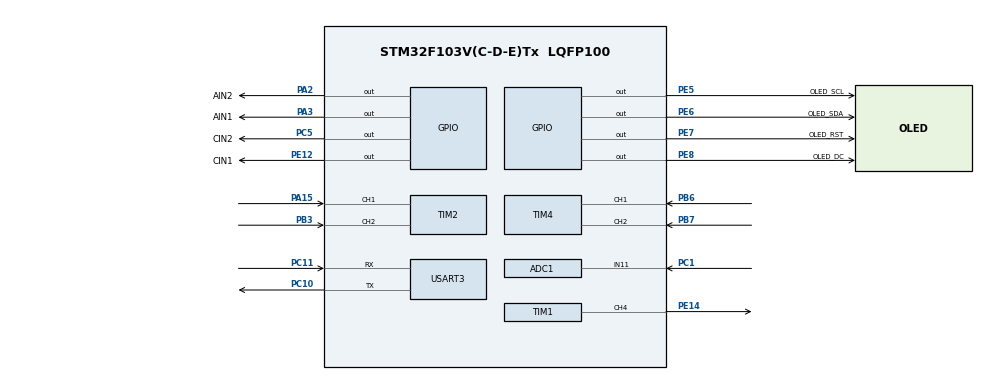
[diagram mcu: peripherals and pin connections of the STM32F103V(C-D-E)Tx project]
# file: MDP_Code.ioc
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ADC1.Channel-0\#ChannelRegularConversion=ADC_CHANNEL_11
ADC1.NbrOfConversionFlag=1
ADC1.Rank-0\#ChannelRegularConversion=1
ADC1.SamplingTime-0\#ChannelRegularConversion=ADC_SAMPLETIME_1CYCLE_5
ADC1.master=1
FREERTOS.Tasks01=defaultTask,24,128,StartDefaultTask,Default,NULL,Dynamic,NULL,NULL;UART_Task,8,128,UART_show,Default,NULL,Dynamic,NULL,NULL
Mcu.Family=STM32F1
Mcu.Name=STM32F103V(C-D-E)Tx
Mcu.Package=LQFP100
NVIC.PriorityGroup=NVIC_PRIORITYGROUP_4
NVIC.USART3_IRQn=true\:5\:0\:false\:false\:true\:true\:true\:true
PA15.Signal=S_TIM2_CH1_ETR
PA2.GPIO_Label=AIN2
PA2.GPIO_Speed=GPIO_SPEED_FREQ_HIGH
PA2.Signal=GPIO_Output
PA3.GPIO_Label=AIN1
PA3.GPIO_Speed=GPIO_SPEED_FREQ_HIGH
PA3.Signal=GPIO_Output
PB3.Signal=S_TIM2_CH2
PB6.Signal=S_TIM4_CH1
PB7.Signal=S_TIM4_CH2
PC1.Signal=ADCx_IN11
PC10.Mode=Asynchronous
PC10.Signal=USART3_TX
PC11.Mode=Asynchronous
PC11.Signal=USART3_RX
PC5.GPIO_Label=CIN2
PC5.GPIO_Speed=GPIO_SPEED_FREQ_HIGH
PC5.Signal=GPIO_Output
PC6.GPIO_Label=PWMA
PC6.Signal=S_TIM8_CH1
PC8.GPIO_Label=PWMC
PC8.Signal=S_TIM8_CH3
PE12.GPIO_Label=CIN1
PE12.GPIO_Speed=GPIO_SPEED_FREQ_HIGH
PE12.Signal=GPIO_Output
PE14.Signal=S_TIM1_CH4
PE5.GPIO_Label=OLED_SCL
PE5.Signal=GPIO_Output
PE6.GPIO_Label=OLED_SDA
PE6.Signal=GPIO_Output
PE7.GPIO_Label=OLED_RST
PE7.Signal=GPIO_Output
PE8.GPIO_Label=OLED_DC
PE8.Signal=GPIO_Output
ProjectManager.HeapSize=0x200
ProjectManager.StackSize=0x400
ProjectManager.TargetToolchain=STM32CubeIDE
RCC.APB1Freq_Value=8000000
RCC.APB2Freq_Value=8000000
SH.ADCx_IN11.0=ADC1_IN11,IN11
SH.S_TIM1_CH4.0=TIM1_CH4,PWM Generation4 CH4
SH.S_TIM2_CH1_ETR.0=TIM2_CH1,Encoder_Interface
SH.S_TIM2_CH2.0=TIM2_CH2,Encoder_Interface
SH.S_TIM4_CH1.0=TIM4_CH1,Encoder_Interface
SH.S_TIM4_CH2.0=TIM4_CH2,Encoder_Interface
SH.S_TIM8_CH1.0=TIM8_CH1
SH.S_TIM8_CH3.0=TIM8_CH3
TIM1.AutoReloadPreload=TIM_AUTORELOAD_PRELOAD_ENABLE
TIM1.Channel-PWM\ Generation4\ CH4=TIM_CHANNEL_4
TIM1.Period=1000
TIM1.Prescaler=160
TIM2.EncoderMode=TIM_ENCODERMODE_TI12
TIM2.IC1Filter=10
TIM2.IC2Filter=10
TIM4.EncoderMode=TIM_ENCODERMODE_TI12
TIM4.IC1Filter=10
TIM4.IC2Filter=10
TIM8.Channel-PWM\ Generation1\ No\ Output=TIM_CHANNEL_1
TIM8.Channel-PWM\ Generation3\ No\ Output=TIM_CHANNEL_3
TIM8.Period=7199
USART3.VirtualMode=VM_ASYNC
VP_FREERTOS_VS_CMSIS_V2.Mode=CMSIS_V2
VP_SYS_VS_ND.Mode=No_Debug
VP_TIM1_VS_ClockSourceINT.Mode=Internal
VP_TIM8_VS_ClockSourceINT.Mode=Internal
VP_TIM8_VS_no_output1.Mode=PWM Generation1 No Output
VP_TIM8_VS_no_output3.Mode=PWM Generation3 No Output
board=custom

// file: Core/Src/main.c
/* USER CODE BEGIN Header */
/**
  ******************************************************************************
  * @file           : main.c
  * @brief          : Main program body
  ******************************************************************************
  * @attention
  *
  * <h2><center>&copy; Copyright (c) 2021 STMicroelectronics.
  * All rights reserved.</center></h2>
  *
  * This software component is licensed by ST under BSD 3-Clause license,
  * the "License"; You may not use this file except in compliance with the
  * License. You may obtain a copy of the License at:
  *                        opensource.org/licenses/BSD-3-Clause
  *
  ******************************************************************************
  */
/* USER CODE END Header */
#include "main.h"
#include "cmsis_os.h"

/* USER CODE BEGIN Includes */
#include <stdio.h>
#include "oled.c"
#include "UserFunctions.h"
/* USER CODE END Includes */

ADC_HandleTypeDef hadc1;

TIM_HandleTypeDef htim1;
TIM_HandleTypeDef htim2;
TIM_HandleTypeDef htim4;
TIM_HandleTypeDef htim8;

UART_HandleTypeDef huart3;

/* Definitions for defaultTask */
osThreadId_t defaultTaskHandle;
const osThreadAttr_t defaultTask_attributes = {
  .name = "defaultTask",
  .stack_size = 128 * 4,
  .priority = (osPriority_t) osPriorityNormal,
};
/* Definitions for UART_Task */
osThreadId_t UART_TaskHandle;
const osThreadAttr_t UART_Task_attributes = {
  .name = "UART_Task",
  .stack_size = 128 * 4,
  .priority = (osPriority_t) osPriorityLow,
};

void SystemClock_Config(void);
static void MX_GPIO_Init(void);
static void MX_USART3_UART_Init(void);
static void MX_TIM8_Init(void);
static void MX_TIM2_Init(void);
static void MX_TIM4_Init(void);
static void MX_TIM1_Init(void);
static void MX_ADC1_Init(void);
void StartDefaultTask(void *argument);
void UART_show(void *argument);

/* USER CODE BEGIN 0 */
uint8_t aRxBuffer[4];

int temp;
/* USER CODE END 0 */

int main(void)
{

  /* MCU Configuration--------------------------------------------------------*/

  /* Reset of all peripherals, Initializes the Flash interface and the Systick. */
  HAL_Init();

  /* Configure the system clock */
  SystemClock_Config();

  /* Initialize all configured peripherals */
  MX_GPIO_Init();
  MX_USART3_UART_Init();
  MX_TIM8_Init();
  MX_TIM2_Init();
  MX_TIM4_Init();
  MX_TIM1_Init();
  MX_ADC1_Init();
  /* USER CODE BEGIN 2 */
  OLED_Init(); 											//REMEMBER THIS LINE PLSSSS!!!!!!!!!!!!!!!!!!!!!!//

  /* USER CODE END 2 */

  /* Init scheduler */
  osKernelInitialize();

  /* Create the thread(s) */
  /* creation of defaultTask */
  defaultTaskHandle = osThreadNew(StartDefaultTask, NULL, &defaultTask_attributes);

  /* creation of UART_Task */
  UART_TaskHandle = osThreadNew(UART_show, NULL, &UART_Task_attributes);

  /* Start scheduler */
  osKernelStart();

  /* We should never get here as control is now taken by the scheduler */
  /* Infinite loop */
  while (1)
  {

  }
}

void SystemClock_Config(void)
{
  RCC_OscInitTypeDef RCC_OscInitStruct = {0};
  RCC_ClkInitTypeDef RCC_ClkInitStruct = {0};
  RCC_PeriphCLKInitTypeDef PeriphClkInit = {0};

  /** Initializes the RCC Oscillators according to the specified parameters
  * in the RCC_OscInitTypeDef structure.
  */
  RCC_OscInitStruct.OscillatorType = RCC_OSCILLATORTYPE_HSI;
  RCC_OscInitStruct.HSIState = RCC_HSI_ON;
  RCC_OscInitStruct.HSICalibrationValue = RCC_HSICALIBRATION_DEFAULT;
  RCC_OscInitStruct.PLL.PLLState = RCC_PLL_NONE;
  if (HAL_RCC_OscConfig(&RCC_OscInitStruct) != HAL_OK)
  {
    Error_Handler();
  }
  /** Initializes the CPU, AHB and APB buses clocks
  */
  RCC_ClkInitStruct.ClockType = RCC_CLOCKTYPE_HCLK|RCC_CLOCKTYPE_SYSCLK
                              |RCC_CLOCKTYPE_PCLK1|RCC_CLOCKTYPE_PCLK2;
  RCC_ClkInitStruct.SYSCLKSource = RCC_SYSCLKSOURCE_HSI;
  RCC_ClkInitStruct.AHBCLKDivider = RCC_SYSCLK_DIV1;
  RCC_ClkInitStruct.APB1CLKDivider = RCC_HCLK_DIV1;
  RCC_ClkInitStruct.APB2CLKDivider = RCC_HCLK_DIV1;

  if (HAL_RCC_ClockConfig(&RCC_ClkInitStruct, FLASH_LATENCY_0) != HAL_OK)
  {
    Error_Handler();
  }
  PeriphClkInit.PeriphClockSelection = RCC_PERIPHCLK_ADC;
  PeriphClkInit.AdcClockSelection = RCC_ADCPCLK2_DIV2;
  if (HAL_RCCEx_PeriphCLKConfig(&PeriphClkInit) != HAL_OK)
  {
    Error_Handler();
  }
}

static void MX_ADC1_Init(void)
{

  ADC_ChannelConfTypeDef sConfig = {0};

  /** Common config
  */
  hadc1.Instance = ADC1;
  hadc1.Init.ScanConvMode = ADC_SCAN_DISABLE;
  hadc1.Init.ContinuousConvMode = DISABLE;
  hadc1.Init.DiscontinuousConvMode = DISABLE;
  hadc1.Init.ExternalTrigConv = ADC_SOFTWARE_START;
  hadc1.Init.DataAlign = ADC_DATAALIGN_RIGHT;
  hadc1.Init.NbrOfConversion = 1;
  if (HAL_ADC_Init(&hadc1) != HAL_OK)
  {
    Error_Handler();
  }
  /** Configure Regular Channel
  */
  sConfig.Channel = ADC_CHANNEL_11;
  sConfig.Rank = ADC_REGULAR_RANK_1;
  sConfig.SamplingTime = ADC_SAMPLETIME_1CYCLE_5;
  if (HAL_ADC_ConfigChannel(&hadc1, &sConfig) != HAL_OK)
  {
    Error_Handler();
  }

}

static void MX_TIM1_Init(void)
{

  TIM_ClockConfigTypeDef sClockSourceConfig = {0};
  TIM_MasterConfigTypeDef sMasterConfig = {0};
  TIM_OC_InitTypeDef sConfigOC = {0};
  TIM_BreakDeadTimeConfigTypeDef sBreakDeadTimeConfig = {0};

  htim1.Instance = TIM1;
  htim1.Init.Prescaler = 160;
  htim1.Init.CounterMode = TIM_COUNTERMODE_UP;
  htim1.Init.Period = 1000;
  htim1.Init.ClockDivision = TIM_CLOCKDIVISION_DIV1;
  htim1.Init.RepetitionCounter = 0;
  htim1.Init.AutoReloadPreload = TIM_AUTORELOAD_PRELOAD_ENABLE;
  if (HAL_TIM_Base_Init(&htim1) != HAL_OK)
  {
    Error_Handler();
  }
  sClockSourceConfig.ClockSource = TIM_CLOCKSOURCE_INTERNAL;
  if (HAL_TIM_ConfigClockSource(&htim1, &sClockSourceConfig) != HAL_OK)
  {
    Error_Handler();
  }
  if (HAL_TIM_PWM_Init(&htim1) != HAL_OK)
  {
    Error_Handler();
  }
  sMasterConfig.MasterOutputTrigger = TIM_TRGO_RESET;
  sMasterConfig.MasterSlaveMode = TIM_MASTERSLAVEMODE_DISABLE;
  if (HAL_TIMEx_MasterConfigSynchronization(&htim1, &sMasterConfig) != HAL_OK)
  {
    Error_Handler();
  }
  sConfigOC.OCMode = TIM_OCMODE_PWM1;
  sConfigOC.Pulse = 0;
  sConfigOC.OCPolarity = TIM_OCPOLARITY_HIGH;
  sConfigOC.OCFastMode = TIM_OCFAST_DISABLE;
  sConfigOC.OCIdleState = TIM_OCIDLESTATE_RESET;
  sConfigOC.OCNIdleState = TIM_OCNIDLESTATE_RESET;
  if (HAL_TIM_PWM_ConfigChannel(&htim1, &sConfigOC, TIM_CHANNEL_4) != HAL_OK)
  {
    Error_Handler();
  }
  sBreakDeadTimeConfig.OffStateRunMode = TIM_OSSR_DISABLE;
  sBreakDeadTimeConfig.OffStateIDLEMode = TIM_OSSI_DISABLE;
  sBreakDeadTimeConfig.LockLevel = TIM_LOCKLEVEL_OFF;
  sBreakDeadTimeConfig.DeadTime = 0;
  sBreakDeadTimeConfig.BreakState = TIM_BREAK_DISABLE;
  sBreakDeadTimeConfig.BreakPolarity = TIM_BREAKPOLARITY_HIGH;
  sBreakDeadTimeConfig.AutomaticOutput = TIM_AUTOMATICOUTPUT_DISABLE;
  if (HAL_TIMEx_ConfigBreakDeadTime(&htim1, &sBreakDeadTimeConfig) != HAL_OK)
  {
    Error_Handler();
  }
  HAL_TIM_MspPostInit(&htim1);

}

static void MX_TIM2_Init(void)
{

  TIM_Encoder_InitTypeDef sConfig = {0};
  TIM_MasterConfigTypeDef sMasterConfig = {0};

  htim2.Instance = TIM2;
  htim2.Init.Prescaler = 0;
  htim2.Init.CounterMode = TIM_COUNTERMODE_UP;
  htim2.Init.Period = 65535;
  htim2.Init.ClockDivision = TIM_CLOCKDIVISION_DIV1;
  htim2.Init.AutoReloadPreload = TIM_AUTORELOAD_PRELOAD_DISABLE;
  sConfig.EncoderMode = TIM_ENCODERMODE_TI12;
  sConfig.IC1Polarity = TIM_ICPOLARITY_RISING;
  sConfig.IC1Selection = TIM_ICSELECTION_DIRECTTI;
  sConfig.IC1Prescaler = TIM_ICPSC_DIV1;
  sConfig.IC1Filter = 10;
  sConfig.IC2Polarity = TIM_ICPOLARITY_RISING;
  sConfig.IC2Selection = TIM_ICSELECTION_DIRECTTI;
  sConfig.IC2Prescaler = TIM_ICPSC_DIV1;
  sConfig.IC2Filter = 10;
  if (HAL_TIM_Encoder_Init(&htim2, &sConfig) != HAL_OK)
  {
    Error_Handler();
  }
  sMasterConfig.MasterOutputTrigger = TIM_TRGO_RESET;
  sMasterConfig.MasterSlaveMode = TIM_MASTERSLAVEMODE_DISABLE;
  if (HAL_TIMEx_MasterConfigSynchronization(&htim2, &sMasterConfig) != HAL_OK)
  {
    Error_Handler();
  }

}

static void MX_TIM4_Init(void)
{

  TIM_Encoder_InitTypeDef sConfig = {0};
  TIM_MasterConfigTypeDef sMasterConfig = {0};

  htim4.Instance = TIM4;
  htim4.Init.Prescaler = 0;
  htim4.Init.CounterMode = TIM_COUNTERMODE_UP;
  htim4.Init.Period = 65535;
  htim4.Init.ClockDivision = TIM_CLOCKDIVISION_DIV1;
  htim4.Init.AutoReloadPreload = TIM_AUTORELOAD_PRELOAD_DISABLE;
  sConfig.EncoderMode = TIM_ENCODERMODE_TI12;
  sConfig.IC1Polarity = TIM_ICPOLARITY_RISING;
  sConfig.IC1Selection = TIM_ICSELECTION_DIRECTTI;
  sConfig.IC1Prescaler = TIM_ICPSC_DIV1;
  sConfig.IC1Filter = 10;
  sConfig.IC2Polarity = TIM_ICPOLARITY_RISING;
  sConfig.IC2Selection = TIM_ICSELECTION_DIRECTTI;
  sConfig.IC2Prescaler = TIM_ICPSC_DIV1;
  sConfig.IC2Filter = 10;
  if (HAL_TIM_Encoder_Init(&htim4, &sConfig) != HAL_OK)
  {
    Error_Handler();
  }
  sMasterConfig.MasterOutputTrigger = TIM_TRGO_RESET;
  sMasterConfig.MasterSlaveMode = TIM_MASTERSLAVEMODE_DISABLE;
  if (HAL_TIMEx_MasterConfigSynchronization(&htim4, &sMasterConfig) != HAL_OK)
  {
    Error_Handler();
  }

}

static void MX_TIM8_Init(void)
{

  TIM_ClockConfigTypeDef sClockSourceConfig = {0};
  TIM_MasterConfigTypeDef sMasterConfig = {0};
  TIM_OC_InitTypeDef sConfigOC = {0};
  TIM_BreakDeadTimeConfigTypeDef sBreakDeadTimeConfig = {0};

  htim8.Instance = TIM8;
  htim8.Init.Prescaler = 0;
  htim8.Init.CounterMode = TIM_COUNTERMODE_UP;
  htim8.Init.Period = 7199;
  htim8.Init.ClockDivision = TIM_CLOCKDIVISION_DIV1;
  htim8.Init.RepetitionCounter = 0;
  htim8.Init.AutoReloadPreload = TIM_AUTORELOAD_PRELOAD_DISABLE;
  if (HAL_TIM_Base_Init(&htim8) != HAL_OK)
  {
    Error_Handler();
  }
  sClockSourceConfig.ClockSource = TIM_CLOCKSOURCE_INTERNAL;
  if (HAL_TIM_ConfigClockSource(&htim8, &sClockSourceConfig) != HAL_OK)
  {
    Error_Handler();
  }
  if (HAL_TIM_PWM_Init(&htim8) != HAL_OK)
  {
    Error_Handler();
  }
  sMasterConfig.MasterOutputTrigger = TIM_TRGO_RESET;
  sMasterConfig.MasterSlaveMode = TIM_MASTERSLAVEMODE_DISABLE;
  if (HAL_TIMEx_MasterConfigSynchronization(&htim8, &sMasterConfig) != HAL_OK)
  {
    Error_Handler();
  }
  sConfigOC.OCMode = TIM_OCMODE_PWM1;
  sConfigOC.Pulse = 0;
  sConfigOC.OCPolarity = TIM_OCPOLARITY_HIGH;
  sConfigOC.OCNPolarity = TIM_OCNPOLARITY_HIGH;
  sConfigOC.OCFastMode = TIM_OCFAST_DISABLE;
  sConfigOC.OCIdleState = TIM_OCIDLESTATE_RESET;
  sConfigOC.OCNIdleState = TIM_OCNIDLESTATE_RESET;
  if (HAL_TIM_PWM_ConfigChannel(&htim8, &sConfigOC, TIM_CHANNEL_1) != HAL_OK)
  {
    Error_Handler();
  }
  if (HAL_TIM_PWM_ConfigChannel(&htim8, &sConfigOC, TIM_CHANNEL_3) != HAL_OK)
  {
    Error_Handler();
  }
  sBreakDeadTimeConfig.OffStateRunMode = TIM_OSSR_DISABLE;
  sBreakDeadTimeConfig.OffStateIDLEMode = TIM_OSSI_DISABLE;
  sBreakDeadTimeConfig.LockLevel = TIM_LOCKLEVEL_OFF;
  sBreakDeadTimeConfig.DeadTime = 0;
  sBreakDeadTimeConfig.BreakState = TIM_BREAK_DISABLE;
  sBreakDeadTimeConfig.BreakPolarity = TIM_BREAKPOLARITY_HIGH;
  sBreakDeadTimeConfig.AutomaticOutput = TIM_AUTOMATICOUTPUT_DISABLE;
  if (HAL_TIMEx_ConfigBreakDeadTime(&htim8, &sBreakDeadTimeConfig) != HAL_OK)
  {
    Error_Handler();
  }

}

static void MX_USART3_UART_Init(void)
{

  huart3.Instance = USART3;
  huart3.Init.BaudRate = 115200;
  huart3.Init.WordLength = UART_WORDLENGTH_8B;
  huart3.Init.StopBits = UART_STOPBITS_1;
  huart3.Init.Parity = UART_PARITY_NONE;
  huart3.Init.Mode = UART_MODE_TX_RX;
  huart3.Init.HwFlowCtl = UART_HWCONTROL_NONE;
  huart3.Init.OverSampling = UART_OVERSAMPLING_16;
  if (HAL_UART_Init(&huart3) != HAL_OK)
  {
    Error_Handler();
  }

}

static void MX_GPIO_Init(void)
{
  GPIO_InitTypeDef GPIO_InitStruct = {0};

  /* GPIO Ports Clock Enable */
  __HAL_RCC_GPIOE_CLK_ENABLE();
  __HAL_RCC_GPIOC_CLK_ENABLE();
  __HAL_RCC_GPIOA_CLK_ENABLE();
  __HAL_RCC_GPIOB_CLK_ENABLE();

  /*Configure GPIO pin Output Level */
  HAL_GPIO_WritePin(GPIOE, OLED_SCL_Pin|OLED_SDA_Pin|OLED_RST_Pin|OLED_DC_Pin
                          |CIN1_Pin, GPIO_PIN_RESET);

  /*Configure GPIO pin Output Level */
  HAL_GPIO_WritePin(GPIOA, AIN2_Pin|AIN1_Pin, GPIO_PIN_RESET);

  /*Configure GPIO pin Output Level */
  HAL_GPIO_WritePin(CIN2_GPIO_Port, CIN2_Pin, GPIO_PIN_RESET);

  /*Configure GPIO pins : OLED_SCL_Pin OLED_SDA_Pin OLED_RST_Pin OLED_DC_Pin */
  GPIO_InitStruct.Pin = OLED_SCL_Pin|OLED_SDA_Pin|OLED_RST_Pin|OLED_DC_Pin;
  GPIO_InitStruct.Mode = GPIO_MODE_OUTPUT_PP;
  GPIO_InitStruct.Pull = GPIO_NOPULL;
  GPIO_InitStruct.Speed = GPIO_SPEED_FREQ_LOW;
  HAL_GPIO_Init(GPIOE, &GPIO_InitStruct);

  /*Configure GPIO pins : AIN2_Pin AIN1_Pin */
  GPIO_InitStruct.Pin = AIN2_Pin|AIN1_Pin;
  GPIO_InitStruct.Mode = GPIO_MODE_OUTPUT_PP;
  GPIO_InitStruct.Pull = GPIO_NOPULL;
  GPIO_InitStruct.Speed = GPIO_SPEED_FREQ_HIGH;
  HAL_GPIO_Init(GPIOA, &GPIO_InitStruct);

  /*Configure GPIO pin : CIN2_Pin */
  GPIO_InitStruct.Pin = CIN2_Pin;
  GPIO_InitStruct.Mode = GPIO_MODE_OUTPUT_PP;
  GPIO_InitStruct.Pull = GPIO_NOPULL;
  GPIO_InitStruct.Speed = GPIO_SPEED_FREQ_HIGH;
  HAL_GPIO_Init(CIN2_GPIO_Port, &GPIO_InitStruct);

  /*Configure GPIO pin : CIN1_Pin */
  GPIO_InitStruct.Pin = CIN1_Pin;
  GPIO_InitStruct.Mode = GPIO_MODE_OUTPUT_PP;
  GPIO_InitStruct.Pull = GPIO_NOPULL;
  GPIO_InitStruct.Speed = GPIO_SPEED_FREQ_HIGH;
  HAL_GPIO_Init(CIN1_GPIO_Port, &GPIO_InitStruct);

}

/* USER CODE BEGIN 4 */
void HAL_UART_RxCpltCallback(UART_HandleTypeDef *huart)
{
	//Prevent unused arguments(s) compilation warning
	UNUSED(*huart);

	//HAL_UART_Transmit(&huart3,(uint8_t *)&aRxBuffer,10,0xFFFF  );
}
/* USER CODE END 4 */

void StartDefaultTask(void *argument)
{
  /* USER CODE BEGIN 5 */
  uint16_t pwmVal = 6000;

  HAL_TIM_PWM_Start(&htim8,TIM_CHANNEL_1);				//Start left motors
  HAL_TIM_PWM_Start(&htim8,TIM_CHANNEL_3);				//Start right motors
  HAL_TIM_Encoder_Start(&htim2,TIM_CHANNEL_ALL);        //Start encoder task for left motor
  HAL_TIM_Encoder_Start(&htim4,TIM_CHANNEL_ALL);        //Start encoder task for right motor

  HAL_TIM_PWM_Start(&htim1,TIM_CHANNEL_4);				//Start servo motor

  int x;						//used to store the received character from UART for week 9 task
  int rstFlag = 0;				//used to only reset the wheels on turn on once
  int setBufferFlag = 0;		//used to set the value of buffer to 9999 once on turn on
  int rstBufferFlag = 0;		//used to set the value of buffer to 9999 after every command so that the command only runs once
  uint8_t receiveBuffer2[4]; 	//buffer to store data from UART
  uint8_t dupBuffer[4]; 		//another buffer to store data from UART (needed for the logic of my function for robot movement by commands from UART)
  uint8_t ch = 'A';				//ack to send to UART

//////////////////////////////Encoder function init not used///////////////////////////////////////////
//   int cnt1, cnt2, diff;
//   uint32_t tick;
//
//   cnt1 =  __HAL_TIM_GET_COUNTER(&htim2);
//   tick = HAL_GetTick();
//   uint8_t hello[20];
//
//   int cnt3, cnt4, diff1;
//   uint32_t tick1;
//
//   cnt1 =  __HAL_TIM_GET_COUNTER(&htim4);
//   tick1 = HAL_GetTick();
//   uint8_t hello1[20];
////////////////////////////////////////////////////////////////////////////////////////////////////////

  /* Infinite loop */
  for(;;)
  {
	  	  HAL_UART_Receive_IT(&huart3,(uint8_t *) aRxBuffer, 1);		//change the buffer from 1 to 4 for week 8 task

	  	  //to reset the wheels on turn on
	  	  if(rstFlag<1){
	  	  rstDirection(htim1);
	  	  rstFlag++;
	  	  }

//////////////////////////////Week 9 task code/////////////////////////////////////////////////////////
	  	  //used for receiving from buffer for week 9 task
	  	  sprintf(receiveBuffer2, "%d\0", aRxBuffer);
	  	  x = atoi(aRxBuffer);

	  	  //execute movement if received character is 6
	  	  if(x == 6){
	  		robot_move_hardcode_triangle(pwmVal, htim8, htim1, hadc1);
	  		x = 7;
	  		sprintf(aRxBuffer, "%d\0", 7);
	  	  }

	  	  //reset if received character is 5
	  	  if(x == 5){
	  		rstDirection(htim1);
	  		x = 7;
	  		sprintf(aRxBuffer, "%d\0", 7);
	  	  }

//PS 5 and 6 were just some random number I came up with in the spur of the moment and used for the task

////////////////////////////////////////////////////////////////////////////////////////////////////////

//////////////////////////////Week 8 task code/////////////////////////////////////////////////////////
//	  	  if(setBufferFlag<1){
//	  	  sprintf(aRxBuffer, "%s\0", "9999");
//	  	  setBufferFlag++;
//	  	  }
//
//	  	  rstBufferFlag = robot_move(receiveBuffer2, dupBuffer, pwmVal, htim8, htim1);
//	  	  if(rstBufferFlag==1){
//	  	  HAL_UART_Transmit(&huart3,(uint8_t *)&ch,1,0xFFFF);			//Sending ack to UART
//	  	  sprintf(aRxBuffer, "%s\0", "9999");					//to reset buffer so that move command only run once
//	  	  rstBufferFlag = 0;
//	  	  }
////////////////////////////////////////////////////////////////////////////////////////////////////////

	  	  robot_move_const(7, pwmVal, 500, htim8, htim1); 		//to stop movement

//////////////////////////////Encoder function not used/////////////////////////////////////////////////
//	  	  //left encoder
//	  	if(HAL_GetTick()-tick > 1000L){
//	  			  cnt2= __HAL_TIM_GET_COUNTER(&htim2);
//	  			  if(__HAL_TIM_IS_TIM_COUNTING_DOWN(&htim2)){
//	  				  if(cnt2<cnt1)
//	  					  diff = cnt1 - cnt2;
//	  				  else
//	  					  diff = (65535 - cnt2)+cnt1;
//	  			  }
//	  			  else{
//	  				  if(cnt2>cnt1)
//	  					  diff = cnt2 - cnt1;
//	  				  else
//	  					  diff = (65535 - cnt1)+cnt2;
//	  			  }
//
//	  			  sprintf(hello,"SpeedL:%5d\0",diff);
//	  			  OLED_ShowString(10,30,hello);
//
//	  			  cnt1=__HAL_TIM_GET_COUNTER(&htim2);
//	  			  tick=HAL_GetTick();
//
//	  		  }
//	  	//right encoder
//	  	if(HAL_GetTick()-tick1 > 1000L){
//	  		  			  cnt4= __HAL_TIM_GET_COUNTER(&htim4);
//	  		  			  if(__HAL_TIM_IS_TIM_COUNTING_DOWN(&htim4)){
//	  		  				  if(cnt4<cnt3)
//	  		  					  diff1 = cnt3 - cnt4;
//	  		  				  else
//	  		  					  diff1 = (65535 - cnt4)+cnt3;
//	  		  			  }
//	  		  			  else{
//	  		  				  if(cnt4>cnt3)
//	  		  					  diff1 = cnt4 - cnt3;
//	  		  				  else
//	  		  					  diff1 = (65535 - cnt3)+cnt4;
//	  		  			  }
//
//	  		  			  sprintf(hello1,"SpeedR:%5d         \0",diff1);
//	  		  			  OLED_ShowString(10,40,hello1);
//
//	  		  			  cnt3=__HAL_TIM_GET_COUNTER(&htim4);
//	  		  			  tick1=HAL_GetTick();
//
//	  		  		  }
//	  	/*if (diff!=pwmVal){
//			if(diff>pwmVal){
//				pwmVal=pwmVal++;
//			 }
//			 else if (pwmVal>diff){
//				pwmVal=pwmVal--;
//			  }
//		}*/
////////////////////////////////////////////////////////////////////////////////////////////////////////

	      osDelay(1000);
  }
  /* USER CODE END 5 */
}

void UART_show(void *argument)
{
  /* USER CODE BEGIN UART_show */
//////////////////////////////Task for testing out UART communications//////////////////////////////////
  uint8_t ch = 'A';				//character to send to UART

  uint8_t receiveBuffer[4]; 	//buffer to store data from UART

  uint8_t display[20] = "Hi b\0";   //whatever you want to display on OLED
  /* Infinite loop */
  for(;;)
  {
	//HAL_UART_Transmit(&huart3,(uint8_t *)&ch,1,0xFFFF);			//Sending data to UART

	temp=encoder(htim4);										//htim2 for left motor and htim4 for right motor
	//sprintf(receiveBuffer, "%5d\0", temp);					//temp code to check the speed of the chosen motor
	sprintf(receiveBuffer, "%s\0", aRxBuffer);					//Receive data from UART

	//OLED_ShowChar(10,10,receiveBuffer[0],12,1);					//Display first character
	OLED_ShowString(10,10,receiveBuffer);						//Display received data
	OLED_ShowString(10,20,display);								//Display any data

	OLED_Refresh_Gram();

    osDelay(1000);
////////////////////////////////////////////////////////////////////////////////////////////////////////

  }
  /* USER CODE END UART_show */
}

void Error_Handler(void)
{
  __disable_irq();
  while (1)
  {
  }
}

/************************ (C) COPYRIGHT STMicroelectronics *****END OF FILE****/
